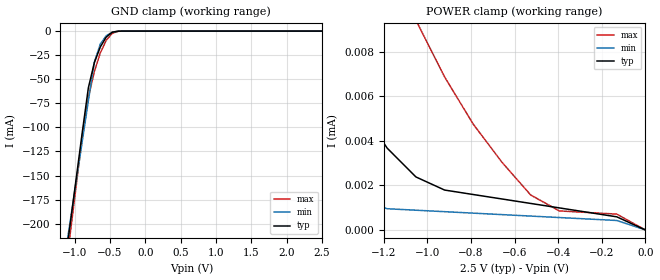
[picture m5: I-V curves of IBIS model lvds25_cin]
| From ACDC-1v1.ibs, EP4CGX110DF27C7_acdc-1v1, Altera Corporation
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[Model]   lvds25_cin
Model_type  Input
Polarity   Non-Inverting
Vinl   = 1.2
Vinh   = 1.3
| C_comp values for normal column I/O
C_comp 4.7pF   4.7pF   4.7pF
[Temperature Range] 25   85   0
[Voltage Range]  2.5   2.325   2.625
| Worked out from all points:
|   GND clamp passes 1 mA (typ) near -0.45 V on its own axis
[GND Clamp]
| voltage   I (typ)   I (min)   I (max)
-2.5V     -1.003A    -896.6mA   -1.061A
-1.144V   -246.2mA   -237.3mA   -259.1mA
-1.059V   -198.9mA   -196.1mA   -209mA
-974.6mV  -151.6mA   -154.9mA   -158.9mA
-889.8mV  -104.3mA   -113.6mA   -108.8mA
-805.1mV  -58.87mA   -72.41mA   -68.82mA
-720.3mV  -32.71mA   -32.28mA   -41.9mA
-635.6mV  -16.39mA   -13.32mA   -22.54mA
-550.8mV  -6.002mA   -4.742mA   -9.332mA
-466.1mV  -1.154mA   -978.7uA   -2.246mA
-296.6mV  -4.684uA   -8.884uA   -9.494uA
2.5V      0A         0A         0A
[POWER Clamp]
| voltage   I (typ)   I (min)   I (max)
-2.5V     124.1uA    71.36uA    181.7uA
-1.842V   22.85uA    9.498uA    53.98uA
-1.579V   12.21uA    4.121uA    28.45uA
-1.447V   8.385uA    2.418uA    21.97uA
-1.316V   5.568uA    1.354uA    16.64uA
-1.184V   3.666uA    951.8nA    12.52uA
-1.053V   2.377uA    886nA      9.404uA
-789.5mV  1.589uA    754.4nA    4.74uA
-526.3mV  1.189uA    622.9nA    1.568uA
-394.7mV  989.5nA    557.1nA    853.5nA
-131.6mV  589.5nA    425.3nA    711.3nA
0V        0A         0A         0A
